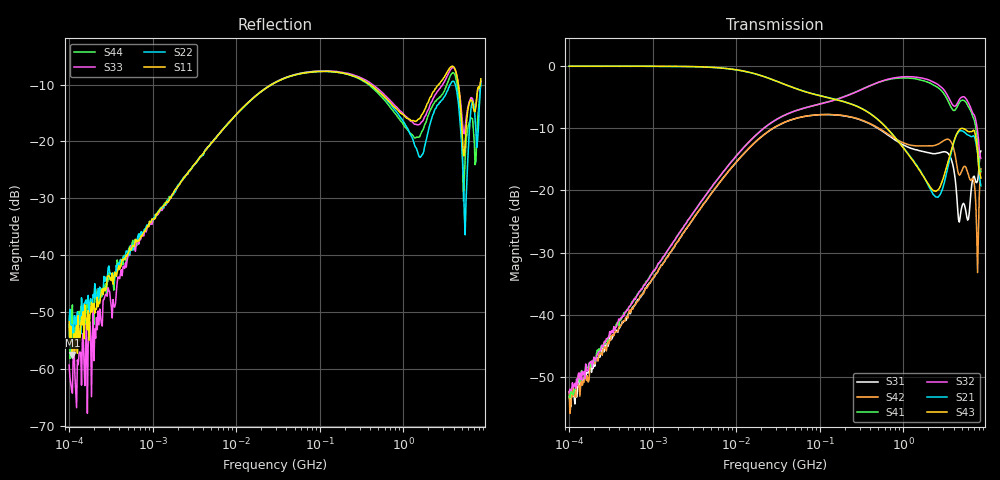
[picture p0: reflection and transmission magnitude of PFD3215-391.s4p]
# MHz S MA R 50
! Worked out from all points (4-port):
!   498 points, 100 kHz to 8.5 GHz, reference 50 ohm
!   strongest paths, dB at 100 kHz, 1.698 MHz, 29.49 MHz, 500.7 MHz, 8.5 GHz:
!     S43: 0.0, -0.1, -2.4, -8.7, -18.0
!     S21: -0.1, -0.1, -2.4, -8.6, -19.3
!     S32: -52.5, -28.8, -8.7, -2.6, -14.8
!     S41: -53.1, -28.6, -8.7, -2.7, -17.0
!     S42: -52.3, -29.7, -9.8, -10.0, -16.5
!     S31: -53.3, -29.7, -9.8, -10.1, -13.7
!   lowest |S11| = -57.6 dB at 109.6 kHz (marker M1), VSWR 1.00, Z = 49.9 + j0.101 ohm
!   |S11| at or under -10 dB: start of sweep to 26.63 MHz; 401.8 MHz to 2.662 GHz (2.26 GHz wide, 148 % of centre); 4.565 GHz to 8.33 GHz (3.766 GHz wide, 58.4 % of centre)
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0.1  0.002601 140.9  0.9947 -0.2  0.002289 -91.9  0.001876 90.4
     0.9938 -0.1  0.002661 136.8  0.002364 80.6  0.002432 -91.4
     0.002152 -98.6  0.002362 86.8  0.001078 -29.0  0.9921 -0.1
     0.002221 89.4  0.002416 -87.9  0.9954 -0.0  0.002457 105.0
0.1095654  0.00132 129.9  0.9949 -0.1  0.002186 -81.7  0.002332 86.2
           0.9936 -0.1  0.002159 104.3  0.003006 81.8  0.002116 -91.2
           0.002287 -96.5  0.002844 89.1  0.00061 134.4  0.9925 -0.1
           0.002302 81.4  0.002195 -95.9  0.9955 -0.1  0.003646 92.9
21.41962  0.2848 41.3  0.8233 -20.1  0.2805 -139.7  0.3158 45.7
          0.8228 -20.1  0.2852 40.6  0.3161 45.7  0.2797 -140.3
          0.28 -139.7  0.3158 45.8  0.2865 41.5  0.8208 -20.3
          0.3161 45.7  0.2801 -140.3  0.8229 -20.3  0.2862 40.7
398.4376  0.3179 -80.4  0.4169 -97.9  0.3432 84.8  0.693 -35.3
          0.4166 -97.9  0.3178 -91.5  0.6933 -34.0  0.3445 74.7
          0.3426 84.7  0.6926 -34.0  0.329 -80.7  0.4147 -98.6
          0.6939 -35.4  0.3454 74.7  0.4156 -98.5  0.3091 -90.3
1367.575  0.1503 163.6  0.1678 96.1  0.2138 -90.9  0.7896 177.8
          0.1679 96.0  0.09268 132.3  0.8167 -179.2  0.228 -108.5
          0.2135 -90.9  0.816 -179.1  0.1415 154.4  0.1649 92.3
          0.7906 177.9  0.2286 -108.3  0.1654 92.4  0.1074 150.1
5507.7  0.09689 -33.6  0.2913 58.7  0.07317 34.1  0.5185 -11.5
        0.2907 58.6  0.01508 -118.3  0.5579 -7.7  0.1567 8.1
        0.07278 34.9  0.5563 -7.3  0.1315 -26.6  0.3079 64.8
        0.5195 -10.9  0.1561 8.8  0.3093 65.2  0.0701 -68.6
8500  0.3554 -40.9  0.1082 -30.5  0.2008 38.8  0.1452 -43.5
      0.1088 -30.5  0.3257 -8.8  0.1819 -41.2  0.1466 45.6
      0.2072 38.7  0.1813 -41.0  0.3385 -41.2  0.1249 -18.4
      0.1419 -43.6  0.1494 46.6  0.1259 -17.2  0.3464 -32.1
